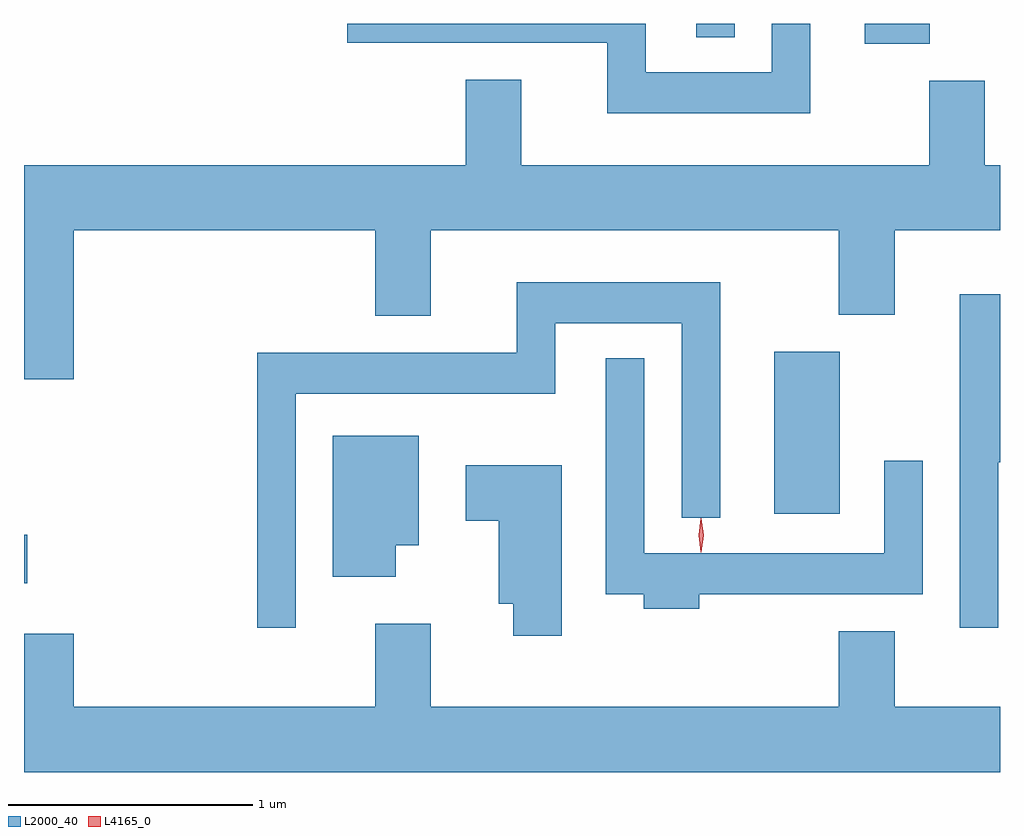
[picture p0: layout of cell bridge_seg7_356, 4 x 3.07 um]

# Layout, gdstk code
import gdstk
lib = gdstk.Library(unit=1e-6, precision=1e-09)
def R(c, l, rs):  # rectangles x0, y0, x1, y1
    for r in rs: c.add(gdstk.rectangle(r[:2], r[2:], *l))
def P(c, l, *ps):  # polygons
    for p in ps: c.add(gdstk.Polygon(p, *l))
L2000_40 = (2000, 40)
L4165_0 = (4165, 0)

bridge_seg7_356 = lib.new_cell('bridge_seg7_356')
R(bridge_seg7_356, L2000_40, [(1174.181,1770.591,1174.194,1770.789), (1177.256,1770.876,1177.524,1771.539), (1177.626,1772.801,1177.894,1772.883), (1176.936,1772.828,1177.094,1772.883)])
P(bridge_seg7_356, L2000_40, [(1177.404,1772.883),(1177.246,1772.883),(1177.246,1772.684),(1176.729,1772.684),(1176.729,1772.883),(1175.506,1772.883),(1175.506,1772.806),(1176.571,1772.806),(1176.571,1772.516),(1177.404,1772.516)],
  [(1174.384,1772.036),(1175.621,1772.036),(1175.621,1771.686),(1175.849,1771.686),(1175.849,1772.036),(1177.521,1772.036),(1177.521,1771.691),(1177.749,1771.691),(1177.749,1772.036),(1178.181,1772.036),(1178.181,1772.304),(1178.119,1772.304),(1178.119,1772.649),(1177.891,1772.649),(1177.891,1772.304),(1176.219,1772.304),(1176.219,1772.654),(1175.991,1772.654),(1175.991,1772.304),(1174.181,1772.304),(1174.181,1771.426),(1174.384,1771.426)],
  [(1175.294,1771.366),(1176.359,1771.366),(1176.359,1771.656),(1176.876,1771.656),(1176.876,1770.858),(1177.034,1770.858),(1177.034,1771.824),(1176.201,1771.824),(1176.201,1771.534),(1175.136,1771.534),(1175.136,1770.408),(1175.294,1770.408)],
  [(1178.174,1771.086),(1178.181,1771.086),(1178.181,1771.774),(1178.016,1771.774),(1178.016,1770.408),(1178.174,1770.408)],
  [(1176.949,1770.546),(1177.864,1770.546),(1177.864,1771.093),(1177.706,1771.093),(1177.706,1770.714),(1176.724,1770.714),(1176.724,1771.513),(1176.566,1771.513),(1176.566,1770.546),(1176.721,1770.546),(1176.721,1770.486),(1176.949,1770.486)],
  [(1175.704,1770.746),(1175.799,1770.746),(1175.799,1771.194),(1175.446,1771.194),(1175.446,1770.616),(1175.704,1770.616)],
  [(1176.384,1771.074),(1175.991,1771.074),(1175.991,1770.846),(1176.126,1770.846),(1176.126,1770.506),(1176.186,1770.506),(1176.186,1770.376),(1176.384,1770.376)],
  [(1178.181,1770.084),(1177.749,1770.084),(1177.749,1770.394),(1177.521,1770.394),(1177.521,1770.084),(1175.849,1770.084),(1175.849,1770.424),(1175.621,1770.424),(1175.621,1770.084),(1174.384,1770.084),(1174.384,1770.384),(1174.181,1770.384),(1174.181,1769.816),(1178.181,1769.816)])
P(bridge_seg7_356, L4165_0, [(1176.955,1770.717),(1176.946,1770.787),(1176.955,1770.856),(1176.956,1770.856),(1176.956,1770.856),(1176.966,1770.787),(1176.956,1770.717),(1176.956,1770.717)],
  [(1176.956,1770.719),(1176.955,1770.72),(1176.946,1770.786),(1176.955,1770.852),(1176.956,1770.853),(1176.956,1770.852),(1176.966,1770.786),(1176.956,1770.72)])

lib.write_gds('bridge_seg7_356.gds')
